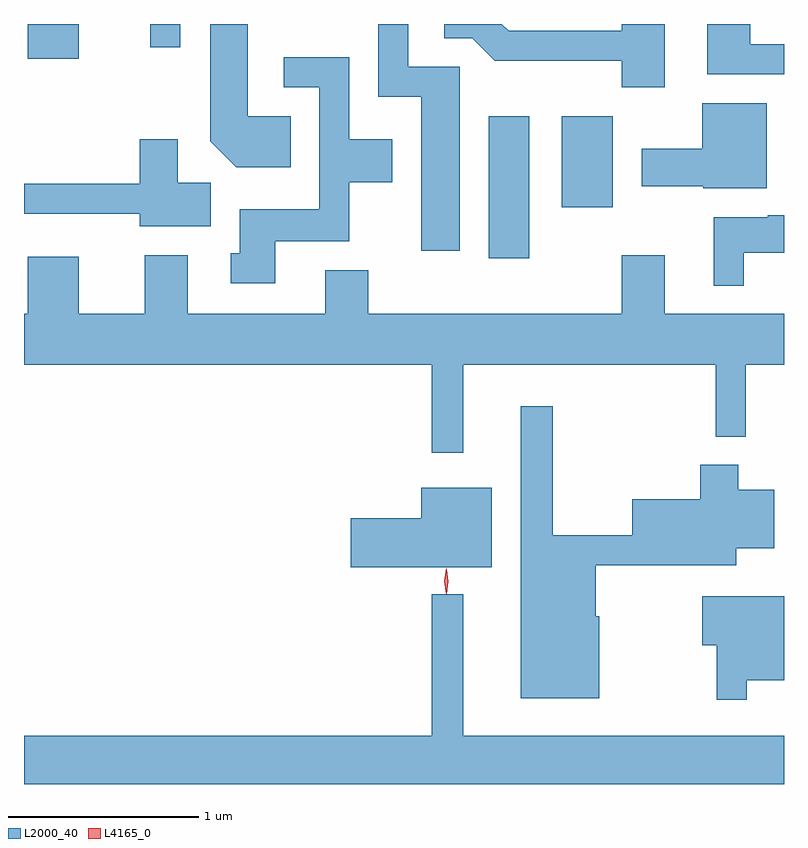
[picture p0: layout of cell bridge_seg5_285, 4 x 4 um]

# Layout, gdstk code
import gdstk
lib = gdstk.Library(unit=1e-6, precision=1e-09)
def R(c, l, rs):  # rectangles x0, y0, x1, y1
    for r in rs: c.add(gdstk.rectangle(r[:2], r[2:], *l))
def P(c, l, *ps):  # polygons
    for p in ps: c.add(gdstk.Polygon(p, *l))
L2000_40 = (2000, 40)
L4165_0 = (4165, 0)

bridge_seg5_285 = lib.new_cell('bridge_seg5_285')
R(bridge_seg5_285, L2000_40, [(657.061,1477.336,657.274,1478.084), (657.446,1477.606,657.714,1478.084), (654.636,1478.386,654.904,1478.57), (655.281,1478.448,655.439,1478.57)])
P(bridge_seg5_285, L2000_40, [(658.616,1478.464),(658.439,1478.464),(658.439,1478.57),(658.211,1478.57),(658.211,1478.306),(658.616,1478.306)],
  [(657.989,1478.57),(657.761,1478.57),(657.761,1478.534),(657.167,1478.534),(657.131,1478.57),(656.828,1478.57),(656.828,1478.496),(656.974,1478.496),(657.094,1478.376),(657.761,1478.376),(657.761,1478.236),(657.989,1478.236)],
  [(656.019,1478.084),(655.794,1478.084),(655.794,1478.57),(655.596,1478.57),(655.596,1477.954),(655.734,1477.816),(656.019,1477.816)],
  [(656.909,1478.344),(656.639,1478.344),(656.639,1478.57),(656.481,1478.57),(656.481,1478.186),(656.706,1478.186),(656.706,1477.376),(656.909,1477.376)],
  [(655.939,1477.426),(656.329,1477.426),(656.329,1477.736),(656.554,1477.736),(656.554,1477.964),(656.329,1477.964),(656.329,1478.394),(655.983,1478.394),(655.983,1478.236),(656.171,1478.236),(656.171,1477.594),(655.751,1477.594),(655.751,1477.364),(655.703,1477.364),(655.703,1477.206),(655.939,1477.206)],
  [(658.524,1478.154),(658.186,1478.154),(658.186,1477.914),(657.866,1477.914),(657.866,1477.716),(658.19,1477.716),(658.19,1477.706),(658.524,1477.706)],
  [(655.599,1477.734),(655.424,1477.734),(655.424,1477.964),(655.226,1477.964),(655.226,1477.729),(654.616,1477.729),(654.616,1477.571),(655.226,1477.571),(655.226,1477.506),(655.599,1477.506)],
  [(658.404,1477.366),(658.616,1477.366),(658.616,1477.564),(658.53,1477.564),(658.53,1477.554),(658.246,1477.554),(658.246,1477.193),(658.404,1477.193)],
  [(656.929,1476.776),(658.256,1476.776),(658.256,1476.398),(658.414,1476.398),(658.414,1476.776),(658.616,1476.776),(658.616,1477.044),(657.989,1477.044),(657.989,1477.354),(657.761,1477.354),(657.761,1477.044),(656.429,1477.044),(656.429,1477.274),(656.201,1477.274),(656.201,1477.044),(655.479,1477.044),(655.479,1477.354),(655.251,1477.354),(655.251,1477.044),(654.904,1477.044),(654.904,1477.344),(654.636,1477.344),(654.636,1477.044),(654.616,1477.044),(654.616,1476.776),(656.761,1476.776),(656.761,1476.313),(656.929,1476.313)],
  [(657.644,1475.454),(657.624,1475.454),(657.624,1475.721),(658.364,1475.721),(658.364,1475.811),(658.564,1475.811),(658.564,1476.119),(658.374,1476.119),(658.374,1476.249),(658.176,1476.249),(658.176,1476.069),(657.816,1476.069),(657.816,1475.879),(657.399,1475.879),(657.399,1476.558),(657.231,1476.558),(657.231,1475.021),(657.644,1475.021)],
  [(657.079,1476.129),(656.706,1476.129),(656.706,1475.969),(656.336,1475.969),(656.336,1475.711),(657.079,1475.711)],
  [(658.616,1474.824),(656.929,1474.824),(656.929,1475.568),(656.761,1475.568),(656.761,1474.824),(654.616,1474.824),(654.616,1474.57),(658.616,1474.57)],
  [(658.419,1475.116),(658.616,1475.116),(658.616,1475.559),(658.186,1475.559),(658.186,1475.301),(658.261,1475.301),(658.261,1475.013),(658.419,1475.013)])
P(bridge_seg5_285, L4165_0, [(656.839,1475.573),(656.829,1475.636),(656.838,1475.699),(656.839,1475.7),(656.84,1475.699),(656.849,1475.636),(656.84,1475.573),(656.84,1475.573)],
  [(656.839,1475.57),(656.829,1475.638),(656.838,1475.705),(656.838,1475.706),(656.839,1475.705),(656.849,1475.638),(656.84,1475.57),(656.84,1475.57)])

lib.write_gds('bridge_seg5_285.gds')
